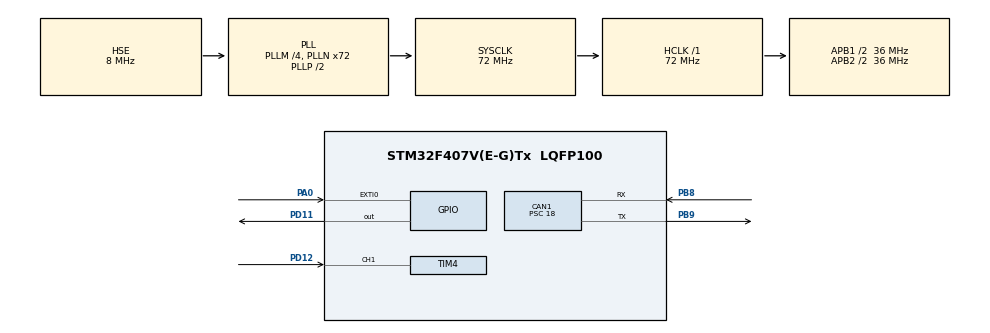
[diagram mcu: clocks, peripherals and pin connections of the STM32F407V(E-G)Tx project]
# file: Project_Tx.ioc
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CAN1.BS1=CAN_BS1_2TQ
CAN1.CalculateBaudRate=500000
CAN1.CalculateTimeBit=2000
CAN1.CalculateTimeQuantum=500.0
CAN1.Prescaler=18
Mcu.Family=STM32F4
Mcu.Name=STM32F407V(E-G)Tx
Mcu.Package=LQFP100
NVIC.CAN1_RX0_IRQn=true\:0\:0\:false\:false\:true\:true\:true\:true
NVIC.EXTI0_IRQn=true\:0\:0\:false\:false\:true\:true\:true\:true
NVIC.PriorityGroup=NVIC_PRIORITYGROUP_0
NVIC.TIM4_IRQn=true\:0\:0\:false\:false\:true\:true\:true\:true
PA0-WKUP.Signal=GPXTI0
PB8.Mode=CAN_Activate
PB8.Signal=CAN1_RX
PB9.Mode=CAN_Activate
PB9.Signal=CAN1_TX
PD11.Signal=GPIO_Output
PD12.Signal=S_TIM4_CH1
PH0-OSC_IN.Mode=HSE-External-Oscillator
PH0-OSC_IN.Signal=RCC_OSC_IN
PH1-OSC_OUT.Mode=HSE-External-Oscillator
PH1-OSC_OUT.Signal=RCC_OSC_OUT
ProjectManager.HeapSize=0x200
ProjectManager.StackSize=0x400
ProjectManager.TargetToolchain=STM32CubeIDE
RCC.48MHZClocksFreq_Value=20571428.57142857
RCC.AHBFreq_Value=72000000
RCC.APB1CLKDivider=RCC_HCLK_DIV2
RCC.APB1Freq_Value=36000000
RCC.APB1TimFreq_Value=72000000
RCC.APB2CLKDivider=RCC_HCLK_DIV2
RCC.APB2Freq_Value=36000000
RCC.APB2TimFreq_Value=72000000
RCC.CortexFreq_Value=72000000
RCC.HCLKFreq_Value=72000000
RCC.HSE_VALUE=8000000
RCC.HSI_VALUE=16000000
RCC.LSE_VALUE=32768
RCC.PLLM=4
RCC.PLLN=72
RCC.PLLQ=7
RCC.PLLSourceVirtual=RCC_PLLSOURCE_HSE
RCC.SYSCLKFreq_VALUE=72000000
RCC.SYSCLKSource=RCC_SYSCLKSOURCE_PLLCLK
RCC.VCOOutputFreq_Value=144000000
SH.S_TIM4_CH1.0=TIM4_CH1,Input_Capture1_from_TI1
TIM4.AutoReloadPreload=TIM_AUTORELOAD_PRELOAD_ENABLE
TIM4.Channel-Input_Capture1_from_TI1=TIM_CHANNEL_1
TIM4.Prescaler=16
VP_TIM4_VS_ClockSourceINT.Mode=Internal
board=STM32F407G-DISC1

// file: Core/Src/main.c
/* USER CODE BEGIN Header */
/**
  ******************************************************************************
  * @file           : main.c
  * @brief          : Main program body
  ******************************************************************************
  * @attention
  *
  * Copyright (c) 2025 STMicroelectronics.
  * All rights reserved.
  *
  * This software is licensed under terms that can be found in the LICENSE file
  * in the root directory of this software component.
  * If no LICENSE file comes with this software, it is provided AS-IS.
  *
  ******************************************************************************
  */
/* USER CODE END Header */
#include "main.h"

/* USER CODE BEGIN PD */
#define ULTRASONIC_TRIGGER_PORT		GPIOD
#define ULTRASONIC_TRIGGER_PIN		GPIO_PIN_11
#define ULTRASONIC_ECHO_PIN_IC		&htim4			//GPIO_PIN_12
/* USER CODE END PD */

CAN_HandleTypeDef hcan1;

TIM_HandleTypeDef htim4;

/* USER CODE BEGIN PV */

// Ultrasonic parameters
uint16_t distance = 0;
uint8_t isReadingFinished = 0;
uint8_t isRisingCaptured = 0;
uint32_t InputCaptureValue_1 = 0;
uint32_t InputCaptureValue_2 = 0;
uint32_t InputCaptureDifference = 0;

// CAN parameters
CAN_TxHeaderTypeDef TxHeader;
uint8_t TxData[4];
uint32_t TxMailbox;

// Piezoelectric Sensor parameter
static uint16_t flag = 0;
/* USER CODE END PV */

void SystemClock_Config(void);
static void MX_GPIO_Init(void);
static void MX_TIM4_Init(void);
static void MX_CAN1_Init(void);

/* USER CODE BEGIN 0 */

void Ultrasonic_distance(void)
{
	//Send Trigger Signal to ultrasonic trigger pin
	HAL_GPIO_WritePin(ULTRASONIC_TRIGGER_PORT, ULTRASONIC_TRIGGER_PIN, GPIO_PIN_SET);		//pull the trig pin high
	HAL_Delay(1);
	HAL_GPIO_WritePin(ULTRASONIC_TRIGGER_PORT, ULTRASONIC_TRIGGER_PIN, GPIO_PIN_RESET);		//pull the trig pin low
	//Enable Timer counter
	__HAL_TIM_ENABLE_IT(ULTRASONIC_ECHO_PIN_IC, TIM_IT_CC1);
}

void HAL_TIM_IC_CaptureCallback(TIM_HandleTypeDef *htim)
{
	//Capture Rising Edge
	if(isRisingCaptured == 0)		//if the first value is not captured
	{
		InputCaptureValue_1 = HAL_TIM_ReadCapturedValue(&htim4, TIM_CHANNEL_1);		//Read the First value
		isRisingCaptured = 1;			//Set the isRisingCaptured as true
		__HAL_TIM_SET_CAPTUREPOLARITY(&htim4, TIM_CHANNEL_1, TIM_INPUTCHANNELPOLARITY_FALLING);		//Now change the polarity to the falling edge
	}
	//Capture Falling Edge
	else if(isRisingCaptured == 1)		//if the first is already captured
	{
		InputCaptureValue_2 = HAL_TIM_ReadCapturedValue(&htim4, TIM_CHANNEL_1);		//read second value
		__HAL_TIM_SET_COUNTER(&htim4, 0);		// reset the counter

		if(InputCaptureValue_2 > InputCaptureValue_1)
		{
			InputCaptureDifference = InputCaptureValue_2 - InputCaptureValue_1;
		}
		else if(InputCaptureValue_1 > InputCaptureValue_2)
		{
			InputCaptureDifference = (0xFFFF - InputCaptureValue_1) + InputCaptureValue_2;
		}

		distance = InputCaptureDifference * 0.0173;

		isReadingFinished = 1;

		isRisingCaptured = 0;		//set it back to false

		__HAL_TIM_SET_CAPTUREPOLARITY(&htim4, TIM_CHANNEL_1, TIM_INPUTCHANNELPOLARITY_RISING);		//set the polarity to rising edge
		__HAL_TIM_DISABLE_IT(&htim4, TIM_IT_CC1);		//Disable timer counter

	}

}

void HAL_GPIO_EXTI_Callback(uint16_t GPIO_Pin)
{
	flag = 1;
}

/* USER CODE END 0 */

int main(void)
{

  /* MCU Configuration--------------------------------------------------------*/

  /* Reset of all peripherals, Initializes the Flash interface and the Systick. */
  HAL_Init();

  /* Configure the system clock */
  SystemClock_Config();

  /* Initialize all configured peripherals */
  MX_GPIO_Init();
  MX_TIM4_Init();
  MX_CAN1_Init();
  /* USER CODE BEGIN 2 */

  HAL_TIM_IC_Start_IT(&htim4, TIM_CHANNEL_1);

  if (HAL_CAN_Start(&hcan1) != HAL_OK)
	  Error_Handler();

  TxHeader.DLC = 4;		//Data length (4 bytes)
  TxHeader.IDE = CAN_ID_STD;
  TxHeader.RTR = CAN_RTR_DATA;
  TxHeader.StdId = 0x0A9;
  TxHeader.TransmitGlobalTime = DISABLE;

  /* USER CODE END 2 */

  /* Infinite loop */
  while (1)
  {

    /* USER CODE BEGIN 3 */

	  // Ultrasonic distance
	  Ultrasonic_distance();

	  // Send data over can
	  TxData[0] = (uint8_t)(distance >> 8);		//High byte Ultrasonic data
	  TxData[1] = (uint8_t)(distance & 0xFF); 		//Low byte Ultrasonic data
	  TxData[2] = (uint8_t)flag;
	  if(HAL_CAN_AddTxMessage(&hcan1, &TxHeader, TxData, &TxMailbox) != HAL_OK)
		  Error_Handler();

	  HAL_Delay(1000);
  }
  /* USER CODE END 3 */
}

void SystemClock_Config(void)
{
  RCC_OscInitTypeDef RCC_OscInitStruct = {0};
  RCC_ClkInitTypeDef RCC_ClkInitStruct = {0};

  /** Configure the main internal regulator output voltage
  */
  __HAL_RCC_PWR_CLK_ENABLE();
  __HAL_PWR_VOLTAGESCALING_CONFIG(PWR_REGULATOR_VOLTAGE_SCALE1);

  /** Initializes the RCC Oscillators according to the specified parameters
  * in the RCC_OscInitTypeDef structure.
  */
  RCC_OscInitStruct.OscillatorType = RCC_OSCILLATORTYPE_HSE;
  RCC_OscInitStruct.HSEState = RCC_HSE_ON;
  RCC_OscInitStruct.PLL.PLLState = RCC_PLL_ON;
  RCC_OscInitStruct.PLL.PLLSource = RCC_PLLSOURCE_HSE;
  RCC_OscInitStruct.PLL.PLLM = 4;
  RCC_OscInitStruct.PLL.PLLN = 72;
  RCC_OscInitStruct.PLL.PLLP = RCC_PLLP_DIV2;
  RCC_OscInitStruct.PLL.PLLQ = 7;
  if (HAL_RCC_OscConfig(&RCC_OscInitStruct) != HAL_OK)
  {
    Error_Handler();
  }

  /** Initializes the CPU, AHB and APB buses clocks
  */
  RCC_ClkInitStruct.ClockType = RCC_CLOCKTYPE_HCLK|RCC_CLOCKTYPE_SYSCLK
                              |RCC_CLOCKTYPE_PCLK1|RCC_CLOCKTYPE_PCLK2;
  RCC_ClkInitStruct.SYSCLKSource = RCC_SYSCLKSOURCE_PLLCLK;
  RCC_ClkInitStruct.AHBCLKDivider = RCC_SYSCLK_DIV1;
  RCC_ClkInitStruct.APB1CLKDivider = RCC_HCLK_DIV2;
  RCC_ClkInitStruct.APB2CLKDivider = RCC_HCLK_DIV2;

  if (HAL_RCC_ClockConfig(&RCC_ClkInitStruct, FLASH_LATENCY_2) != HAL_OK)
  {
    Error_Handler();
  }
}

static void MX_CAN1_Init(void)
{

  hcan1.Instance = CAN1;
  hcan1.Init.Prescaler = 18;
  hcan1.Init.Mode = CAN_MODE_NORMAL;
  hcan1.Init.SyncJumpWidth = CAN_SJW_1TQ;
  hcan1.Init.TimeSeg1 = CAN_BS1_2TQ;
  hcan1.Init.TimeSeg2 = CAN_BS2_1TQ;
  hcan1.Init.TimeTriggeredMode = DISABLE;
  hcan1.Init.AutoBusOff = DISABLE;
  hcan1.Init.AutoWakeUp = DISABLE;
  hcan1.Init.AutoRetransmission = DISABLE;
  hcan1.Init.ReceiveFifoLocked = DISABLE;
  hcan1.Init.TransmitFifoPriority = DISABLE;
  if (HAL_CAN_Init(&hcan1) != HAL_OK)
  {
    Error_Handler();
  }

}

static void MX_TIM4_Init(void)
{

  TIM_ClockConfigTypeDef sClockSourceConfig = {0};
  TIM_MasterConfigTypeDef sMasterConfig = {0};
  TIM_IC_InitTypeDef sConfigIC = {0};

  htim4.Instance = TIM4;
  htim4.Init.Prescaler = 16;
  htim4.Init.CounterMode = TIM_COUNTERMODE_UP;
  htim4.Init.Period = 65535;
  htim4.Init.ClockDivision = TIM_CLOCKDIVISION_DIV1;
  htim4.Init.AutoReloadPreload = TIM_AUTORELOAD_PRELOAD_ENABLE;
  if (HAL_TIM_Base_Init(&htim4) != HAL_OK)
  {
    Error_Handler();
  }
  sClockSourceConfig.ClockSource = TIM_CLOCKSOURCE_INTERNAL;
  if (HAL_TIM_ConfigClockSource(&htim4, &sClockSourceConfig) != HAL_OK)
  {
    Error_Handler();
  }
  if (HAL_TIM_IC_Init(&htim4) != HAL_OK)
  {
    Error_Handler();
  }
  sMasterConfig.MasterOutputTrigger = TIM_TRGO_RESET;
  sMasterConfig.MasterSlaveMode = TIM_MASTERSLAVEMODE_DISABLE;
  if (HAL_TIMEx_MasterConfigSynchronization(&htim4, &sMasterConfig) != HAL_OK)
  {
    Error_Handler();
  }
  sConfigIC.ICPolarity = TIM_INPUTCHANNELPOLARITY_RISING;
  sConfigIC.ICSelection = TIM_ICSELECTION_DIRECTTI;
  sConfigIC.ICPrescaler = TIM_ICPSC_DIV1;
  sConfigIC.ICFilter = 0;
  if (HAL_TIM_IC_ConfigChannel(&htim4, &sConfigIC, TIM_CHANNEL_1) != HAL_OK)
  {
    Error_Handler();
  }

}

static void MX_GPIO_Init(void)
{
  GPIO_InitTypeDef GPIO_InitStruct = {0};

  /* GPIO Ports Clock Enable */
  __HAL_RCC_GPIOH_CLK_ENABLE();
  __HAL_RCC_GPIOA_CLK_ENABLE();
  __HAL_RCC_GPIOD_CLK_ENABLE();
  __HAL_RCC_GPIOB_CLK_ENABLE();

  /*Configure GPIO pin Output Level */
  HAL_GPIO_WritePin(GPIOD, GPIO_PIN_11, GPIO_PIN_RESET);

  /*Configure GPIO pin : PA0 */
  GPIO_InitStruct.Pin = GPIO_PIN_0;
  GPIO_InitStruct.Mode = GPIO_MODE_IT_RISING;
  GPIO_InitStruct.Pull = GPIO_NOPULL;
  HAL_GPIO_Init(GPIOA, &GPIO_InitStruct);

  /*Configure GPIO pin : PD11 */
  GPIO_InitStruct.Pin = GPIO_PIN_11;
  GPIO_InitStruct.Mode = GPIO_MODE_OUTPUT_PP;
  GPIO_InitStruct.Pull = GPIO_NOPULL;
  GPIO_InitStruct.Speed = GPIO_SPEED_FREQ_LOW;
  HAL_GPIO_Init(GPIOD, &GPIO_InitStruct);

  /* EXTI interrupt init*/
  HAL_NVIC_SetPriority(EXTI0_IRQn, 0, 0);
  HAL_NVIC_EnableIRQ(EXTI0_IRQn);

}

void Error_Handler(void)
{
  __disable_irq();
  while (1)
  {
  }
}
